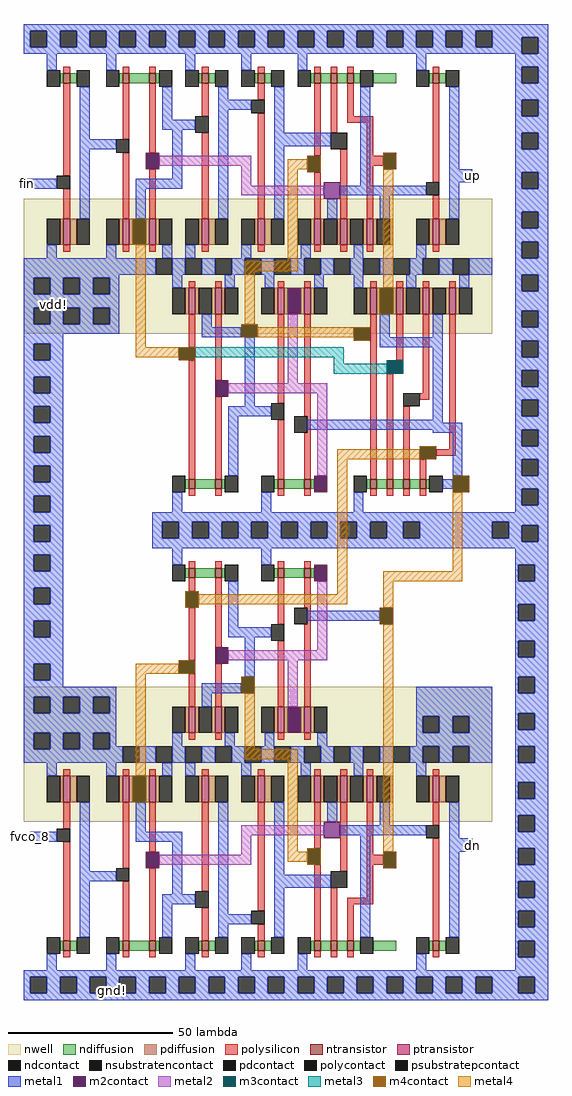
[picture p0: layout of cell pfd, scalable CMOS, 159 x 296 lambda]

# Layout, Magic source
magic
tech scmos
<< nwell >>
rect -2 52 140 93
rect -2 -96 140 -55
<< ntransistor >>
rect 10 128 12 131
rect 28 128 30 131
rect 36 128 38 131
rect 52 128 54 131
rect 69 128 71 131
rect 86 128 88 131
rect 91 128 93 131
rect 96 128 98 131
rect 122 128 124 131
rect 48 5 50 8
rect 56 5 58 8
rect 75 5 77 8
rect 83 5 85 8
rect 103 5 105 8
rect 108 5 110 8
rect 113 5 115 8
rect 118 5 120 8
rect 48 -22 50 -19
rect 56 -22 58 -19
rect 75 -22 77 -19
rect 83 -22 85 -19
rect 10 -135 12 -132
rect 28 -135 30 -132
rect 36 -135 38 -132
rect 52 -135 54 -132
rect 69 -135 71 -132
rect 86 -135 88 -132
rect 91 -135 93 -132
rect 96 -135 98 -132
rect 122 -135 124 -132
<< ptransistor >>
rect 10 79 12 87
rect 28 79 30 87
rect 36 79 38 87
rect 52 79 54 87
rect 69 79 71 87
rect 86 79 88 87
rect 94 79 96 87
rect 102 79 104 87
rect 122 79 124 87
rect 48 58 50 66
rect 56 58 58 66
rect 75 58 77 66
rect 83 58 85 66
rect 103 58 105 66
rect 111 58 113 66
rect 119 58 121 66
rect 127 58 129 66
rect 48 -69 50 -61
rect 56 -69 58 -61
rect 75 -69 77 -61
rect 83 -69 85 -61
rect 10 -90 12 -82
rect 28 -90 30 -82
rect 36 -90 38 -82
rect 52 -90 54 -82
rect 69 -90 71 -82
rect 86 -90 88 -82
rect 94 -90 96 -82
rect 102 -90 104 -82
rect 122 -90 124 -82
<< ndiffusion >>
rect 9 128 10 131
rect 12 128 14 131
rect 27 128 28 131
rect 30 128 36 131
rect 38 128 39 131
rect 51 128 52 131
rect 54 128 56 131
rect 68 128 69 131
rect 71 128 73 131
rect 85 128 86 131
rect 88 128 91 131
rect 93 128 96 131
rect 98 128 100 131
rect 104 128 111 131
rect 121 128 122 131
rect 124 128 126 131
rect 47 5 48 8
rect 50 5 56 8
rect 58 5 59 8
rect 74 5 75 8
rect 77 5 83 8
rect 85 5 86 8
rect 102 5 103 8
rect 105 5 108 8
rect 110 5 113 8
rect 115 5 118 8
rect 120 5 121 8
rect 47 -22 48 -19
rect 50 -22 56 -19
rect 58 -22 59 -19
rect 74 -22 75 -19
rect 77 -22 83 -19
rect 85 -22 86 -19
rect 9 -135 10 -132
rect 12 -135 14 -132
rect 27 -135 28 -132
rect 30 -135 36 -132
rect 38 -135 39 -132
rect 51 -135 52 -132
rect 54 -135 56 -132
rect 68 -135 69 -132
rect 71 -135 73 -132
rect 85 -135 86 -132
rect 88 -135 91 -132
rect 93 -135 96 -132
rect 98 -135 100 -132
rect 104 -135 111 -132
rect 121 -135 122 -132
rect 124 -135 126 -132
<< pdiffusion >>
rect 9 79 10 87
rect 12 79 14 87
rect 27 79 28 87
rect 30 79 31 87
rect 35 79 36 87
rect 38 79 39 87
rect 51 79 52 87
rect 54 79 56 87
rect 68 79 69 87
rect 71 79 73 87
rect 85 79 86 87
rect 88 79 89 87
rect 93 79 94 87
rect 96 79 97 87
rect 101 79 102 87
rect 104 79 105 87
rect 109 79 110 87
rect 121 79 122 87
rect 124 79 126 87
rect 47 58 48 66
rect 50 58 51 66
rect 55 58 56 66
rect 58 58 59 66
rect 74 58 75 66
rect 77 58 78 66
rect 82 58 83 66
rect 85 58 86 66
rect 102 58 103 66
rect 105 58 106 66
rect 110 58 111 66
rect 113 58 114 66
rect 118 58 119 66
rect 121 58 122 66
rect 126 58 127 66
rect 129 58 130 66
rect 47 -69 48 -61
rect 50 -69 51 -61
rect 55 -69 56 -61
rect 58 -69 59 -61
rect 74 -69 75 -61
rect 77 -69 78 -61
rect 82 -69 83 -61
rect 85 -69 86 -61
rect 9 -90 10 -82
rect 12 -90 14 -82
rect 27 -90 28 -82
rect 30 -90 31 -82
rect 35 -90 36 -82
rect 38 -90 39 -82
rect 51 -90 52 -82
rect 54 -90 56 -82
rect 68 -90 69 -82
rect 71 -90 73 -82
rect 85 -90 86 -82
rect 88 -90 89 -82
rect 93 -90 94 -82
rect 96 -90 97 -82
rect 101 -90 102 -82
rect 104 -90 105 -82
rect 109 -90 110 -82
rect 121 -90 122 -82
rect 124 -90 126 -82
<< ndcontact >>
rect 5 127 9 132
rect 14 127 18 132
rect 23 127 27 132
rect 39 127 43 132
rect 47 127 51 132
rect 56 127 60 132
rect 64 127 68 132
rect 73 127 77 132
rect 81 127 85 132
rect 100 127 104 132
rect 117 127 121 132
rect 126 127 130 132
rect 43 4 47 9
rect 59 4 63 9
rect 70 4 74 9
rect 86 4 90 9
rect 98 4 102 9
rect 121 4 125 9
rect 43 -23 47 -18
rect 59 -23 63 -18
rect 70 -23 74 -18
rect 86 -23 90 -18
rect 5 -136 9 -131
rect 14 -136 18 -131
rect 23 -136 27 -131
rect 39 -136 43 -131
rect 47 -136 51 -131
rect 56 -136 60 -131
rect 64 -136 68 -131
rect 73 -136 77 -131
rect 81 -136 85 -131
rect 100 -136 104 -131
rect 117 -136 121 -131
rect 126 -136 130 -131
<< pdcontact >>
rect 5 79 9 87
rect 14 79 18 87
rect 23 79 27 87
rect 31 79 35 87
rect 39 79 43 87
rect 47 79 51 87
rect 56 79 60 87
rect 64 79 68 87
rect 73 79 77 87
rect 81 79 85 87
rect 89 79 93 87
rect 97 79 101 87
rect 105 79 109 87
rect 117 79 121 87
rect 126 79 130 87
rect 43 58 47 66
rect 51 58 55 66
rect 59 58 63 66
rect 70 58 74 66
rect 78 58 82 66
rect 86 58 90 66
rect 98 58 102 66
rect 106 58 110 66
rect 114 58 118 66
rect 122 58 126 66
rect 130 58 134 66
rect 43 -69 47 -61
rect 51 -69 55 -61
rect 59 -69 63 -61
rect 70 -69 74 -61
rect 78 -69 82 -61
rect 86 -69 90 -61
rect 5 -90 9 -82
rect 14 -90 18 -82
rect 23 -90 27 -82
rect 31 -90 35 -82
rect 39 -90 43 -82
rect 47 -90 51 -82
rect 56 -90 60 -82
rect 64 -90 68 -82
rect 73 -90 77 -82
rect 81 -90 85 -82
rect 89 -90 93 -82
rect 97 -90 101 -82
rect 105 -90 109 -82
rect 117 -90 121 -82
rect 126 -90 130 -82
<< psubstratepcontact >>
rect 0 139 5 144
rect 9 139 14 144
rect 18 139 23 144
rect 27 139 32 144
rect 36 139 41 144
rect 45 139 50 144
rect 54 139 59 144
rect 63 139 68 144
rect 72 139 77 144
rect 81 139 86 144
rect 90 139 95 144
rect 99 139 104 144
rect 108 139 113 144
rect 117 139 122 144
rect 126 139 131 144
rect 135 139 140 144
rect 149 137 154 142
rect 149 128 154 133
rect 149 118 154 123
rect 149 108 154 113
rect 149 96 154 101
rect 149 84 154 89
rect 149 75 154 80
rect 149 65 154 70
rect 149 54 154 59
rect 149 45 154 50
rect 149 36 154 41
rect 149 27 154 32
rect 149 18 154 23
rect 149 9 154 14
rect 149 0 154 5
rect 40 -10 45 -5
rect 49 -10 54 -5
rect 58 -10 63 -5
rect 67 -10 72 -5
rect 76 -10 81 -5
rect 85 -10 90 -5
rect 94 -10 99 -5
rect 103 -10 108 -5
rect 113 -10 118 -5
rect 140 -10 145 -5
rect 149 -11 154 -6
rect 148 -23 153 -18
rect 148 -35 153 -30
rect 148 -46 153 -41
rect 148 -57 153 -52
rect 148 -68 153 -63
rect 148 -78 153 -73
rect 148 -89 153 -84
rect 148 -99 153 -94
rect 148 -109 153 -104
rect 148 -119 153 -114
rect 148 -128 153 -123
rect 148 -137 153 -132
rect 0 -148 5 -143
rect 9 -148 14 -143
rect 18 -148 23 -143
rect 27 -148 32 -143
rect 36 -148 41 -143
rect 45 -148 50 -143
rect 54 -148 59 -143
rect 63 -148 68 -143
rect 72 -148 77 -143
rect 81 -148 86 -143
rect 90 -148 95 -143
rect 99 -148 104 -143
rect 108 -148 113 -143
rect 117 -148 122 -143
rect 126 -148 131 -143
rect 135 -148 140 -143
rect 148 -148 153 -143
<< nsubstratencontact >>
rect 38 70 43 75
rect 47 70 52 75
rect 56 70 61 75
rect 65 70 70 75
rect 74 70 79 75
rect 83 70 88 75
rect 92 70 97 75
rect 101 70 106 75
rect 110 70 115 75
rect 119 70 124 75
rect 128 70 133 75
rect 1 64 6 69
rect 10 64 15 69
rect 19 64 24 69
rect 1 55 6 60
rect 10 55 15 60
rect 19 55 24 60
rect 1 44 6 49
rect 1 34 6 39
rect 1 25 6 30
rect 1 16 6 21
rect 1 7 6 12
rect 1 -2 6 3
rect 1 -11 6 -6
rect 1 -20 6 -15
rect 1 -30 6 -25
rect 1 -40 6 -35
rect 1 -53 6 -48
rect 1 -63 6 -58
rect 10 -63 15 -58
rect 19 -63 24 -58
rect 119 -69 124 -64
rect 128 -69 133 -64
rect 1 -74 6 -69
rect 10 -74 15 -69
rect 19 -74 24 -69
rect 28 -78 33 -73
rect 38 -78 43 -73
rect 47 -78 52 -73
rect 56 -78 61 -73
rect 65 -78 70 -73
rect 74 -78 79 -73
rect 83 -78 88 -73
rect 92 -78 97 -73
rect 101 -78 106 -73
rect 110 -78 115 -73
rect 119 -78 124 -73
rect 128 -78 133 -73
<< polysilicon >>
rect 10 131 12 133
rect 10 100 12 128
rect 28 131 30 133
rect 36 131 38 133
rect 28 111 30 128
rect 36 107 38 128
rect 52 131 54 133
rect 52 118 54 128
rect 69 131 71 133
rect 69 123 71 128
rect 86 131 88 133
rect 91 131 93 133
rect 96 131 98 133
rect 10 87 12 96
rect 28 87 30 107
rect 36 87 38 102
rect 52 87 54 113
rect 69 87 71 119
rect 86 106 88 128
rect 91 113 93 128
rect 96 118 98 128
rect 122 131 124 133
rect 96 116 104 118
rect 86 87 88 101
rect 94 87 96 108
rect 102 106 104 116
rect 102 103 107 106
rect 102 87 104 103
rect 122 98 124 128
rect 122 87 124 94
rect 10 77 12 79
rect 28 77 30 79
rect 36 77 38 79
rect 52 77 54 79
rect 69 77 71 79
rect 86 77 88 79
rect 94 77 96 79
rect 102 77 104 79
rect 122 77 124 79
rect 48 66 50 68
rect 56 66 58 68
rect 75 66 77 68
rect 83 66 85 68
rect 103 66 105 68
rect 111 66 113 68
rect 119 66 121 68
rect 127 66 129 68
rect 48 48 50 58
rect 48 8 50 44
rect 56 38 58 58
rect 56 8 58 33
rect 75 31 77 58
rect 83 27 85 58
rect 48 3 50 5
rect 56 3 58 5
rect 75 8 77 26
rect 84 22 85 27
rect 83 8 85 22
rect 75 3 77 5
rect 83 3 85 5
rect 103 8 105 58
rect 111 44 113 58
rect 108 8 110 40
rect 119 34 121 58
rect 118 32 121 34
rect 113 8 115 30
rect 127 17 129 58
rect 123 15 129 17
rect 118 8 120 14
rect 103 3 105 5
rect 108 3 110 5
rect 113 3 115 5
rect 118 3 120 5
rect 48 -19 50 -17
rect 56 -19 58 -17
rect 48 -26 50 -22
rect 48 -47 50 -31
rect 48 -61 50 -51
rect 56 -43 58 -22
rect 75 -19 77 -17
rect 83 -19 85 -17
rect 75 -36 77 -22
rect 83 -31 85 -22
rect 84 -36 85 -31
rect 56 -61 58 -48
rect 75 -61 77 -41
rect 83 -61 85 -36
rect 48 -71 50 -69
rect 56 -71 58 -69
rect 75 -71 77 -69
rect 83 -71 85 -69
rect 10 -82 12 -80
rect 28 -82 30 -80
rect 36 -82 38 -80
rect 52 -82 54 -80
rect 69 -82 71 -80
rect 86 -82 88 -80
rect 94 -82 96 -80
rect 102 -82 104 -80
rect 122 -82 124 -80
rect 10 -98 12 -90
rect 10 -132 12 -102
rect 28 -110 30 -90
rect 36 -105 38 -90
rect 10 -137 12 -135
rect 28 -132 30 -114
rect 36 -132 38 -110
rect 52 -117 54 -90
rect 28 -137 30 -135
rect 36 -137 38 -135
rect 52 -132 54 -122
rect 69 -123 71 -90
rect 86 -104 88 -90
rect 52 -137 54 -135
rect 69 -132 71 -127
rect 69 -137 71 -135
rect 86 -132 88 -109
rect 94 -111 96 -90
rect 102 -106 104 -90
rect 122 -97 124 -90
rect 102 -109 107 -106
rect 91 -132 93 -116
rect 102 -119 104 -109
rect 96 -121 104 -119
rect 96 -132 98 -121
rect 86 -137 88 -135
rect 91 -137 93 -135
rect 96 -137 98 -135
rect 122 -132 124 -101
rect 122 -137 124 -135
<< polycontact >>
rect 26 107 30 111
rect 67 119 71 123
rect 50 113 54 118
rect 8 96 12 100
rect 35 102 39 107
rect 91 108 96 113
rect 84 101 88 106
rect 107 102 111 107
rect 120 94 124 98
rect 45 44 50 48
rect 56 33 60 38
rect 73 26 77 31
rect 98 50 103 54
rect 80 22 84 27
rect 108 40 113 44
rect 113 30 118 34
rect 118 14 123 18
rect 47 -31 51 -26
rect 45 -51 50 -47
rect 80 -36 84 -31
rect 73 -41 77 -36
rect 56 -48 60 -43
rect 8 -102 12 -98
rect 35 -110 39 -105
rect 26 -114 30 -110
rect 50 -122 54 -117
rect 84 -109 88 -104
rect 67 -127 71 -123
rect 91 -116 96 -111
rect 120 -101 124 -97
rect 107 -110 111 -105
<< metal1 >>
rect -2 144 157 146
rect -2 139 0 144
rect 5 139 9 144
rect 14 139 18 144
rect 23 139 27 144
rect 32 139 36 144
rect 41 139 45 144
rect 50 139 54 144
rect 59 139 63 144
rect 68 139 72 144
rect 77 139 81 144
rect 86 139 90 144
rect 95 139 99 144
rect 104 139 108 144
rect 113 139 117 144
rect 122 139 126 144
rect 131 139 135 144
rect 140 142 157 144
rect 140 139 149 142
rect -2 137 149 139
rect 154 137 157 142
rect 5 132 8 137
rect 23 132 26 137
rect 47 132 50 137
rect 64 132 67 137
rect 81 132 84 137
rect 117 132 120 137
rect 147 133 157 137
rect 15 111 18 127
rect 40 117 43 127
rect 57 123 60 127
rect 57 120 67 123
rect 40 114 50 117
rect 15 108 26 111
rect -1 96 8 99
rect 15 87 18 108
rect 43 99 46 114
rect 32 96 46 99
rect 32 87 35 96
rect 57 87 60 120
rect 74 113 77 127
rect 74 109 91 113
rect 74 87 77 109
rect 100 97 103 127
rect 127 102 130 127
rect 147 128 149 133
rect 154 128 157 133
rect 147 123 157 128
rect 147 118 149 123
rect 154 118 157 123
rect 147 113 157 118
rect 147 108 149 113
rect 154 108 157 113
rect 127 98 134 102
rect 147 101 157 108
rect 94 94 120 97
rect 90 87 93 93
rect 106 87 109 94
rect 127 87 130 98
rect 5 75 8 79
rect 23 75 26 79
rect 40 75 43 79
rect 147 96 149 101
rect 154 96 157 101
rect 147 89 157 96
rect 147 84 149 89
rect 154 84 157 89
rect 147 80 157 84
rect 47 75 50 79
rect 64 75 67 79
rect 82 75 85 79
rect 98 75 101 79
rect 117 75 120 79
rect 147 75 149 80
rect 154 75 157 80
rect -2 70 38 75
rect 43 70 47 75
rect 52 70 56 75
rect 61 70 65 75
rect 70 70 74 75
rect 79 70 83 75
rect 88 70 92 75
rect 97 70 101 75
rect 106 70 110 75
rect 115 70 119 75
rect 124 70 128 75
rect 133 70 140 75
rect 147 70 157 75
rect -2 69 27 70
rect -2 64 1 69
rect 6 64 10 69
rect 15 64 19 69
rect 24 64 27 69
rect -2 60 27 64
rect -2 55 1 60
rect 6 55 10 60
rect 15 55 19 60
rect 24 55 27 60
rect 43 66 46 70
rect 59 66 62 70
rect 71 66 74 70
rect 86 66 89 70
rect 98 66 101 70
rect 114 66 117 70
rect 130 66 133 70
rect 147 65 149 70
rect 154 65 157 70
rect 147 59 157 65
rect -2 52 27 55
rect 52 54 55 58
rect -2 49 10 52
rect 52 51 64 54
rect -2 44 1 49
rect 6 44 10 49
rect -2 39 10 44
rect -2 34 1 39
rect 6 34 10 39
rect -2 30 10 34
rect 65 30 68 51
rect 106 51 109 58
rect 122 51 125 58
rect 106 48 125 51
rect -2 25 1 30
rect 6 25 10 30
rect -2 21 10 25
rect -2 16 1 21
rect 6 16 10 21
rect -2 12 10 16
rect -2 7 1 12
rect 6 7 10 12
rect 60 27 73 30
rect 60 9 63 27
rect 122 26 125 48
rect 84 25 125 26
rect 147 54 149 59
rect 154 54 157 59
rect 147 50 157 54
rect 147 45 149 50
rect 154 45 157 50
rect 147 41 157 45
rect 147 36 149 41
rect 154 36 157 41
rect 147 32 157 36
rect 147 27 149 32
rect 154 27 157 32
rect 84 23 131 25
rect 122 22 131 23
rect 128 9 131 22
rect 147 23 157 27
rect 147 18 149 23
rect 154 18 157 23
rect 147 14 157 18
rect 147 9 149 14
rect 154 9 157 14
rect -2 3 10 7
rect -2 -2 1 3
rect 6 -2 10 3
rect 125 5 128 8
rect 147 5 157 9
rect 43 -2 46 4
rect 70 -2 73 4
rect 98 -2 101 4
rect 147 0 149 5
rect 154 0 157 5
rect 147 -2 157 0
rect -2 -6 10 -2
rect -2 -11 1 -6
rect 6 -11 10 -6
rect -2 -15 10 -11
rect 37 -5 157 -2
rect 37 -10 40 -5
rect 45 -10 49 -5
rect 54 -10 58 -5
rect 63 -10 67 -5
rect 72 -10 76 -5
rect 81 -10 85 -5
rect 90 -10 94 -5
rect 99 -10 103 -5
rect 108 -10 113 -5
rect 118 -10 140 -5
rect 145 -6 157 -5
rect 145 -10 149 -6
rect 37 -11 149 -10
rect 154 -11 157 -6
rect 37 -13 157 -11
rect -2 -20 1 -15
rect 6 -20 10 -15
rect -2 -25 10 -20
rect 43 -18 46 -13
rect 70 -18 73 -13
rect 147 -18 157 -13
rect 147 -23 148 -18
rect 153 -23 157 -18
rect -2 -30 1 -25
rect 6 -30 10 -25
rect -2 -35 10 -30
rect -2 -40 1 -35
rect 6 -40 10 -35
rect 60 -37 63 -23
rect 147 -30 157 -23
rect 84 -35 106 -32
rect 147 -35 148 -30
rect 153 -35 157 -30
rect 60 -40 73 -37
rect -2 -48 10 -40
rect -2 -53 1 -48
rect 6 -53 10 -48
rect 65 -52 68 -40
rect 147 -41 157 -35
rect -2 -55 10 -53
rect -2 -58 26 -55
rect -2 -63 1 -58
rect 6 -63 10 -58
rect 15 -63 19 -58
rect 24 -63 26 -58
rect 52 -57 64 -54
rect 147 -46 148 -41
rect 153 -46 157 -41
rect 147 -52 157 -46
rect 52 -61 55 -57
rect -2 -69 26 -63
rect -2 -74 1 -69
rect 6 -74 10 -69
rect 15 -74 19 -69
rect 24 -73 26 -69
rect 43 -73 46 -69
rect 59 -73 62 -69
rect 71 -73 74 -69
rect 87 -73 90 -69
rect 117 -64 140 -55
rect 117 -69 119 -64
rect 124 -69 128 -64
rect 133 -69 140 -64
rect 117 -73 140 -69
rect 24 -74 28 -73
rect -2 -78 28 -74
rect 33 -78 38 -73
rect 43 -78 47 -73
rect 52 -78 56 -73
rect 61 -78 65 -73
rect 70 -78 74 -73
rect 79 -78 83 -73
rect 88 -78 92 -73
rect 97 -78 101 -73
rect 106 -78 110 -73
rect 115 -78 119 -73
rect 124 -78 128 -73
rect 133 -78 140 -73
rect 147 -57 148 -52
rect 153 -57 157 -52
rect 147 -63 157 -57
rect 147 -68 148 -63
rect 153 -68 157 -63
rect 147 -73 157 -68
rect 147 -78 148 -73
rect 153 -78 157 -73
rect 5 -82 8 -78
rect 23 -82 26 -78
rect 40 -82 43 -78
rect 47 -82 50 -78
rect 64 -82 67 -78
rect 82 -82 85 -78
rect 98 -82 101 -78
rect 117 -82 120 -78
rect 0 -102 8 -99
rect 15 -111 18 -90
rect 32 -99 35 -90
rect 32 -102 46 -99
rect 15 -114 26 -111
rect 15 -131 18 -114
rect 43 -118 46 -102
rect 40 -121 50 -118
rect 40 -131 43 -121
rect 57 -124 60 -90
rect 74 -112 77 -90
rect 90 -96 93 -90
rect 106 -97 109 -90
rect 94 -100 120 -97
rect 74 -116 91 -112
rect 57 -127 67 -124
rect 57 -131 60 -127
rect 74 -131 77 -116
rect 100 -131 103 -100
rect 127 -101 130 -90
rect 147 -84 157 -78
rect 147 -89 148 -84
rect 153 -89 157 -84
rect 147 -94 157 -89
rect 147 -99 148 -94
rect 153 -99 157 -94
rect 127 -105 134 -101
rect 147 -104 157 -99
rect 127 -131 130 -105
rect 147 -109 148 -104
rect 153 -109 157 -104
rect 147 -114 157 -109
rect 147 -119 148 -114
rect 153 -119 157 -114
rect 147 -123 157 -119
rect 147 -128 148 -123
rect 153 -128 157 -123
rect 147 -132 157 -128
rect 5 -141 8 -136
rect 23 -141 26 -136
rect 47 -141 50 -136
rect 64 -141 67 -136
rect 81 -141 84 -136
rect 117 -141 120 -136
rect 147 -137 148 -132
rect 153 -137 157 -132
rect 147 -141 157 -137
rect -2 -143 157 -141
rect -2 -148 0 -143
rect 5 -148 9 -143
rect 14 -148 18 -143
rect 23 -148 27 -143
rect 32 -148 36 -143
rect 41 -148 45 -143
rect 50 -148 54 -143
rect 59 -148 63 -143
rect 68 -148 72 -143
rect 77 -148 81 -143
rect 86 -148 90 -143
rect 95 -148 99 -143
rect 104 -148 108 -143
rect 113 -148 117 -143
rect 122 -148 126 -143
rect 131 -148 135 -143
rect 140 -148 148 -143
rect 153 -148 157 -143
rect -2 -150 157 -148
<< m2contact >>
rect 35 102 39 107
rect 84 101 88 106
rect 89 93 94 98
rect 107 102 111 107
rect 31 79 35 87
rect 78 58 82 66
rect 106 58 110 66
rect 64 51 69 55
rect 45 44 50 48
rect 56 33 60 38
rect 98 50 103 54
rect 108 40 113 44
rect 118 14 123 18
rect 86 4 90 9
rect 128 4 133 9
rect 86 -23 90 -18
rect 47 -31 51 -26
rect 106 -36 110 -31
rect 45 -51 50 -47
rect 56 -48 60 -43
rect 64 -57 68 -52
rect 78 -69 82 -61
rect 31 -90 35 -82
rect 35 -110 39 -105
rect 89 -101 94 -96
rect 84 -109 88 -104
rect 107 -110 111 -105
<< metal2 >>
rect 39 103 67 106
rect 64 97 67 103
rect 64 94 89 97
rect 78 37 81 58
rect 60 34 90 37
rect 87 9 90 34
rect 87 -44 90 -23
rect 60 -47 90 -44
rect 78 -61 81 -47
rect 64 -100 89 -97
rect 64 -106 67 -100
rect 39 -109 67 -106
<< m3contact >>
rect 84 101 88 106
rect 107 102 111 107
rect 31 79 35 87
rect 106 58 110 66
rect 64 51 69 55
rect 45 44 50 48
rect 98 50 103 54
rect 108 40 113 44
rect 118 14 123 18
rect 128 4 133 9
rect 47 -31 51 -26
rect 45 -51 50 -47
rect 106 -36 110 -31
rect 64 -57 68 -52
rect 31 -90 35 -82
rect 84 -109 88 -104
rect 107 -110 111 -105
<< metal3 >>
rect 50 45 95 48
rect 92 43 95 45
rect 92 40 108 43
<< m4contact >>
rect 84 101 88 106
rect 107 102 111 107
rect 31 79 35 87
rect 106 58 110 66
rect 64 51 69 55
rect 98 50 103 54
rect 45 44 50 48
rect 118 14 123 18
rect 128 4 133 9
rect 47 -31 51 -26
rect 106 -36 110 -31
rect 45 -51 50 -47
rect 64 -57 68 -52
rect 31 -90 35 -82
rect 84 -109 88 -104
rect 107 -110 111 -105
<< metal4 >>
rect 78 102 84 105
rect 32 48 35 79
rect 78 74 81 102
rect 65 71 81 74
rect 65 55 68 71
rect 107 66 110 102
rect 69 51 98 54
rect 32 45 45 48
rect 93 14 118 17
rect 93 -27 96 14
rect 128 -20 131 4
rect 51 -30 96 -27
rect 107 -23 131 -20
rect 107 -31 110 -23
rect 32 -51 45 -48
rect 32 -82 35 -51
rect 65 -74 68 -57
rect 65 -77 81 -74
rect 78 -105 81 -77
rect 78 -108 84 -105
rect 107 -105 110 -36
<< labels >>
rlabel metal1 25 -147 25 -147 1 gnd!
rlabel metal1 134 -105 134 -101 1 dn
rlabel metal1 134 98 134 102 1 up
rlabel metal1 7 61 7 61 1 vdd!
rlabel metal1 -1 96 -1 99 3 fin
rlabel metal1 0 -102 0 -99 3 fvco_8
<< end >>
